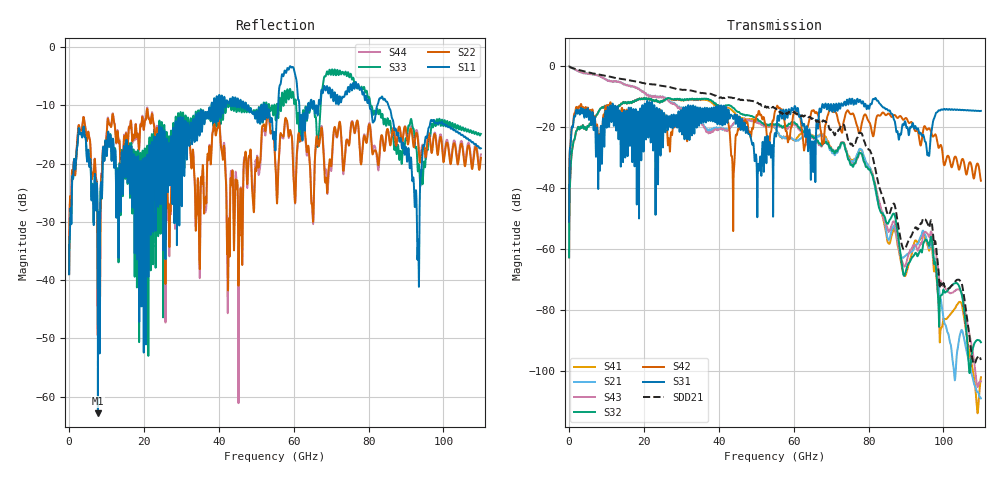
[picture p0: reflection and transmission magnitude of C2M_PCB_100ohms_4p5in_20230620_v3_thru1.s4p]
! Info: Touchstone file created by Circ.  Input file=C2M_PCB_100ohms_4p5in_20230620_v3.circ
# Hz S RI R 50
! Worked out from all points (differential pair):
!   11000 points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, 10 MHz to 110 GHz, reference 50 ohm
!   strongest paths, dB at 10 MHz, 27.51 GHz, 55.01 GHz, 82.51 GHz, 110 GHz:
!     S31: -51.0, -17.9, -22.0, -11.4, -14.7
!     S42: -50.9, -22.6, -14.8, -16.1, -37.6
!     S32: -62.7, -10.9, -19.2, -44.6, -90.5
!     S43: -0.1, -12.2, -19.5, -42.9, -103.3
!     S21: -0.1, -11.9, -20.2, -44.6, -108.8
!     S41: -62.7, -11.1, -20.4, -43.5, -101.9
!   taken as a pair (ports 3,1 in; 4,2 out), SDD21 dB: -0.1, -7.2, -13.8, -37.9, -96.3
!   lowest |S11| = -62.9 dB at 7.7 GHz (marker M1), VSWR 1.00, Z = 50 - j0.0611 ohm
!   |S11| at or under -10 dB: start of sweep to 38.06 GHz; 47.31 GHz to 51.36 GHz (4.049 GHz wide, 8.21 % of centre); 85.26 GHz to end of sweep (the widest 3 of 23)
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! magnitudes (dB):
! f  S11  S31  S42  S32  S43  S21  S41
! 10 MHz  -39.0  -51.0  -50.9  -62.7  -0.1  -0.1  -62.7
! 1.86 GHz  -19.3  -14.6  -13.6  -21.5  -1.4  -1.4  -21.5
! 7.7 GHz  -62.9  -28.1  -25.3  -15.4  -3.1  -3.1  -15.4
! 11.61 GHz  -16.5  -12.4  -12.9  -13.8  -5.3  -5.3  -13.9
! 77.92 GHz  -7.0  -11.6  -20.5  -28.6  -28.7  -27.3  -27.4
! 89.48 GHz  -17.5  -19.1  -17.5  -68.7  -65.7  -62.5  -68.5
! 110 GHz  -17.4  -14.7  -37.6  -90.5  -103.3  -108.8  -101.9
